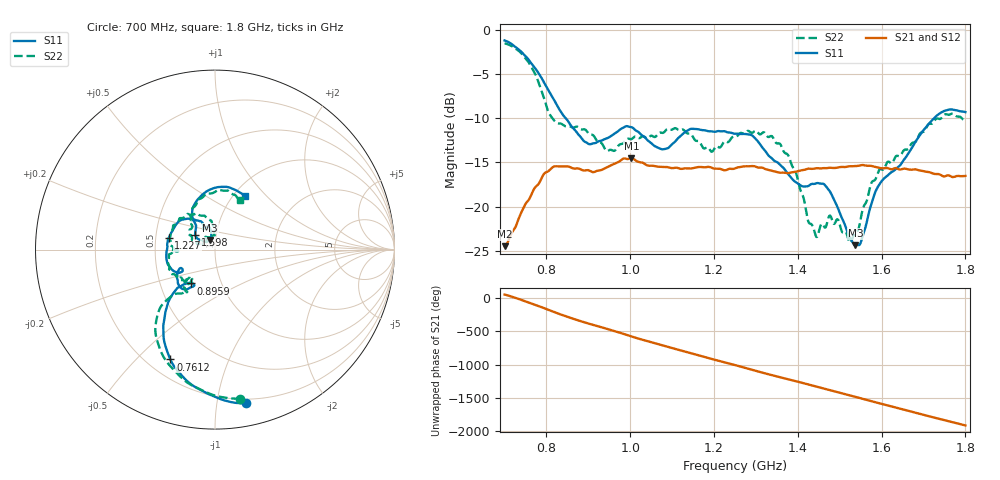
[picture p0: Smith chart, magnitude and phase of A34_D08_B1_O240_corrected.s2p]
! Created with skrf 1.9.0 (http://scikit-rf.org).
# Hz S RI R 50.0
!freq ReS11 ImS11 ReS21 ImS21 ReS12 ImS12 ReS22 ImS22
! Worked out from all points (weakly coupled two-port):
!   1601 points, 700 MHz to 1.8 GHz, reference 50 ohm
!   highest |S21| = -14.53 dB at 1.002 GHz (marker M1); lowest = -24.5 dB at 700.7 MHz (marker M2)
!   lowest |S11| = -24.4 dB at 1.537 GHz (marker M3), VSWR 1.13, Z = 47.1 + j5.06 ohm
!   |S11| at or under -10 dB: 846.1 MHz to 1.725 GHz (878.7 MHz wide, 68.4 % of centre)
!   |S22| runs from -24.1 to -1.5 dB; largest |S21 - S12| = 0.0036
!   S11 on the Smith chart (normalised r, x): 700 MHz: 0.17, -1.21; 761.2 MHz: 0.29, -0.63; 895.9 MHz: 0.72, -0.29; 1.227 GHz: 0.59, +0.08; 1.598 GHz: 0.79, +0.13; 1.8 GHz: 1.12, +0.76
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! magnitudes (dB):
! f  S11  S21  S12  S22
! 700 MHz  -1.2  -24.5  -24.3  -1.5
! 700.7 MHz  -1.2  -24.5  -24.2  -1.5
! 761.2 MHz  -3.6  -18.9  -18.8  -3.9
! 816.2 MHz  -7.8  -15.5  -15.6  -10.1
! 883.6 MHz  -12.2  -15.8  -15.7  -11.3
! 895.9 MHz  -12.8  -15.9  -16.0  -11.4
! 945.4 MHz  -12.2  -15.5  -15.5  -13.7
! 1.002 GHz  -11.0  -14.5  -14.6  -12.4
! 1.067 GHz  -13.3  -15.5  -15.4  -11.7
! 1.144 GHz  -11.2  -15.7  -15.7  -11.7
! 1.194 GHz  -11.5  -15.6  -15.5  -13.8
! 1.227 GHz  -11.5  -15.9  -15.8  -12.6
! 1.25 GHz  -11.7  -15.7  -15.6  -12.1
! 1.358 GHz  -15.3  -16.2  -16.1  -12.9
! 1.394 GHz  -17.2  -16.1  -16.0  -16.0
! 1.434 GHz  -17.4  -15.7  -15.7  -22.1
! 1.473 GHz  -18.0  -15.6  -15.6  -21.3
! 1.537 GHz  -24.4  -15.4  -15.4  -23.0
! 1.598 GHz  -17.3  -15.6  -15.6  -15.7
! 1.617 GHz  -16.4  -15.7  -15.6  -14.9
! 1.733 GHz  -9.6  -16.3  -16.3  -10.0
! 1.8 GHz  -9.3  -16.5  -16.5  -10.2
